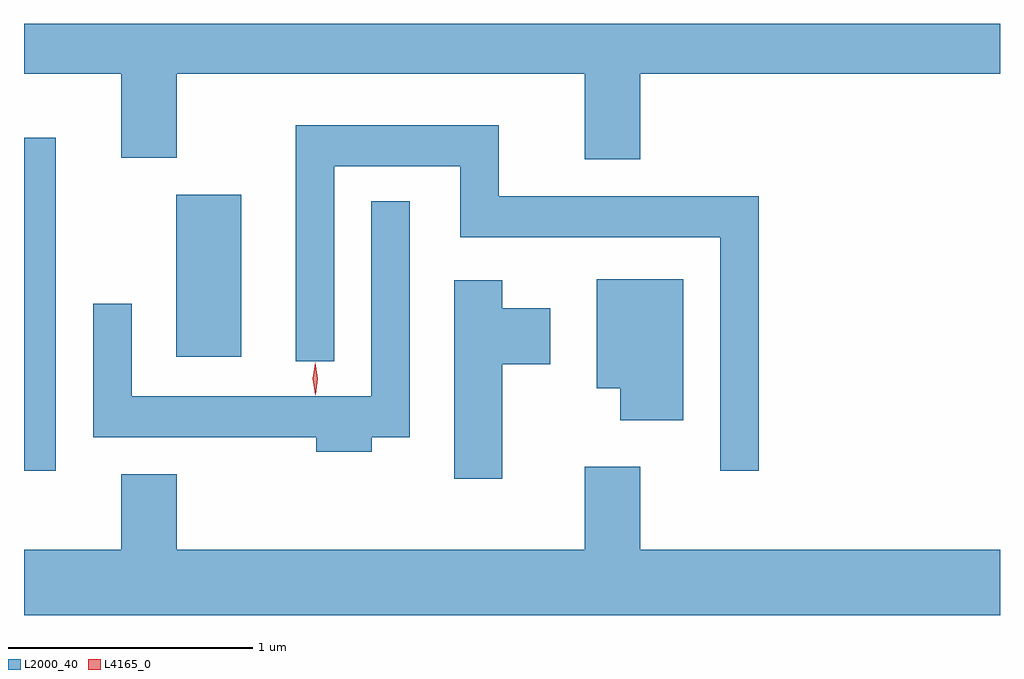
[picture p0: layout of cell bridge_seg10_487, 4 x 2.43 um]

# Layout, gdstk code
import gdstk
lib = gdstk.Library(unit=1e-6, precision=1e-09)
def R(c, l, rs):  # rectangles x0, y0, x1, y1
    for r in rs: c.add(gdstk.rectangle(r[:2], r[2:], *l))
def P(c, l, *ps):  # polygons
    for p in ps: c.add(gdstk.Polygon(p, *l))
L2000_40 = (2000, 40)
L4165_0 = (4165, 0)

bridge_seg10_487 = lib.new_cell('bridge_seg10_487')
R(bridge_seg10_487, L2000_40, [(879.533,2178.888,879.664,2180.254), (880.156,2179.356,880.424,2180.019)])
P(bridge_seg10_487, L2000_40, [(882.059,2180.516),(883.533,2180.516),(883.533,2180.721),(879.533,2180.721),(879.533,2180.516),(879.931,2180.516),(879.931,2180.171),(880.159,2180.171),(880.159,2180.516),(881.831,2180.516),(881.831,2180.166),(882.059,2180.166)],
  [(882.544,2180.014),(881.479,2180.014),(881.479,2180.304),(880.646,2180.304),(880.646,2179.338),(880.804,2179.338),(880.804,2180.136),(881.321,2180.136),(881.321,2179.846),(882.386,2179.846),(882.386,2178.888),(882.544,2178.888)],
  [(880.959,2179.026),(881.114,2179.026),(881.114,2179.993),(880.956,2179.993),(880.956,2179.194),(879.974,2179.194),(879.974,2179.573),(879.816,2179.573),(879.816,2179.026),(880.731,2179.026),(880.731,2178.966),(880.959,2178.966)],
  [(882.234,2179.674),(881.881,2179.674),(881.881,2179.226),(881.976,2179.226),(881.976,2179.096),(882.234,2179.096)],
  [(881.494,2179.326),(881.689,2179.326),(881.689,2179.554),(881.494,2179.554),(881.494,2179.669),(881.296,2179.669),(881.296,2178.856),(881.494,2178.856)],
  [(883.533,2178.564),(882.059,2178.564),(882.059,2178.904),(881.831,2178.904),(881.831,2178.564),(880.159,2178.564),(880.159,2178.874),(879.931,2178.874),(879.931,2178.564),(879.533,2178.564),(879.533,2178.296),(883.533,2178.296)])
P(bridge_seg10_487, L4165_0, [(880.727,2179.2),(880.727,2179.2),(880.717,2179.266),(880.726,2179.332),(880.727,2179.333),(880.727,2179.332),(880.737,2179.266),(880.728,2179.2)])

lib.write_gds('bridge_seg10_487.gds')
